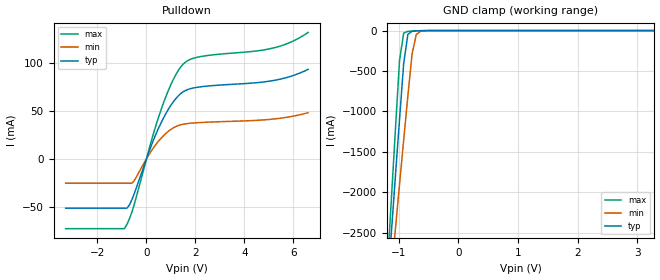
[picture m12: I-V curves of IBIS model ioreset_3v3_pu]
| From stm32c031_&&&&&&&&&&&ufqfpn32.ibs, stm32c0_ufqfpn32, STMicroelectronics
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|   Model ioreset_3v3_pu
[Model]  ioreset_3v3_pu
Model_type I/O_open_drain
Polarity   Inverting
Enable   Active-High
Vinl =   0.990000V
Vinh =   2.310000V
Vmeas =  1.650000V
Cref =   100.000000nF
Rref =   1.000000k
Vref =   3.300000V
C_comp   0.541680pF   0.532160pF   0.622160pF
[Temperature Range]   25.000000   0.125000k   -40.000000
[Pullup Reference]   3.300000V   2.700000V   3.600000V
[Pulldown Reference]   0.0V   0.0V   0.0V
[POWER Clamp Reference]   3.300000V   2.700000V   3.600000V
[GND Clamp Reference]   0.0V   0.0V   0.0V
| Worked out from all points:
|   slope of the pulldown table from 0 to 0.495 V, typ, clamps not added: 15.4 ohm
|   GND clamp passes 1 mA (typ) near -0.59 V on its own axis
[Pulldown]
|Voltage   I(typ)   I(min)   I(max)
-3.3V     -51.63mA   -25.53mA   -73.04mA
-900mV    -51.63mA   -25.53mA   -73.04mA
-700mV    -48.45mA   -25.53mA   -63.02mA
-500mV    -36.51mA   -22.8mA    -47.71mA
200mV     14.03mA    8.316mA    18.9mA
700mV     42.99mA    24.4mA     58.9mA
1.2V      63.06mA    33.8mA     88.14mA
1.6V      71.64mA    36.67mA    101.4mA
2.3V      75.63mA    38.12mA    107.4mA
5.2V      82.02mA    41.68mA    116.1mA
5.9V      86.41mA    44.22mA    122.2mA
6.6V      93.66mA    48.27mA    132.3mA
[GND_clamp]
|Voltage   I(typ)   I(min)   I(max)
-3.3V     -9.812A    -9.988A    -9.329A
-1.2V     -3.251A    -3.583A    -3.017A
-1.13V    -2.528A    -3.02A     -2.122A
-1.06V    -1.808A    -2.459A    -1.234A
-990mV    -1.097A    -1.901A    -369.4mA
-920mV    -404.3mA   -1.349A    -29.79mA
-850mV    -46.63mA   -808.1mA   -9.867mA
-780mV    -8.596mA   -293.7mA   -6.34mA
-710mV    -3.483mA   -50.92mA   -3.779mA
-640mV    -1.689mA   -10.39mA   -1.818mA
-430mV    -117.5uA   -209uA     -95.53uA
3.28V     0A         0A         0A
[POWER_clamp]
|Voltage   I(typ)   I(min)   I(max)
-3.28V    0A         0A         0A
0V        0A         0A         0A
[Ramp]
| variable   typ   min   max
dV/dt_r  1.97933/0.10397u   1.61897/0.10190u   2.15945/0.10455u
dV/dt_f  1.97933/5.68063n   1.61903/9.19249n   2.15945/4.39416n
R_load = 40.000000k
